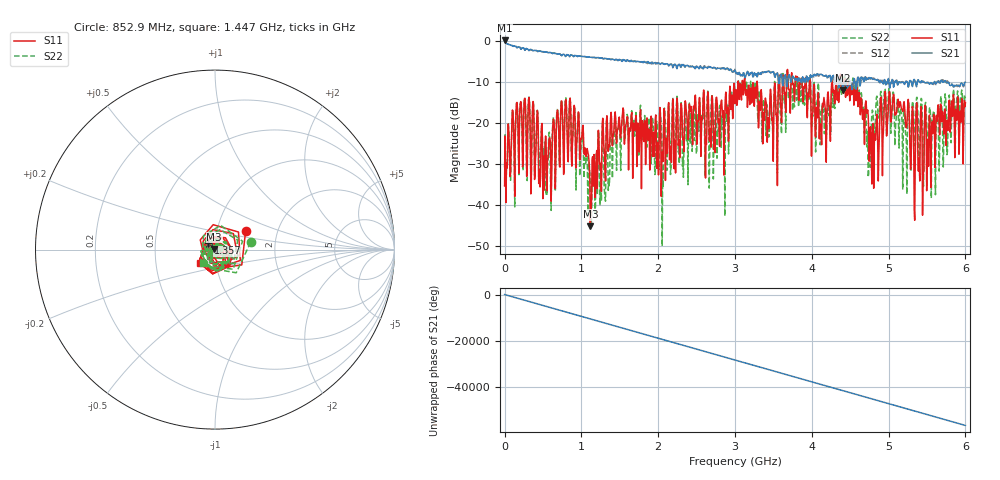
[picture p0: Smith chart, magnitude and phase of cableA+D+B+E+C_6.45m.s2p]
# GHZ S RI R 50.000000000000
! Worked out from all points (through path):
!   1001 points, 1 MHz to 6 GHz, reference 50 ohm
!   highest |S21| = 0.05 dB at 1 MHz (marker M1); lowest = -12.0 dB at 4.404 GHz (marker M2)
!   lowest |S11| = -45.1 dB at 1.117 GHz (marker M3), VSWR 1.01, Z = 49.5 + j0.313 ohm
!   |S11| at or under -10 dB: start of sweep to 3.042 GHz; 3.981 GHz to 4.26 GHz (279 MHz wide, 6.77 % of centre); 4.483 GHz to end of sweep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
!   |S22| runs from -50.0 to -7.2 dB; largest |S21 - S12| = 0.056
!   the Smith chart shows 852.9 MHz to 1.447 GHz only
!   S11 on the Smith chart (normalised r, x): 852.9 MHz: 1.37, +0.30; 1.357 GHz: 0.92, +0.07; 1.447 GHz: 0.83, -0.13
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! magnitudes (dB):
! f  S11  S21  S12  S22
! 1 MHz  -35.3  0.0  -0.1  -30.8
! 187 MHz  -32.3  -1.6  -1.6  -32.6
! 528.9 MHz  -25.0  -2.8  -2.7  -24.7
! 714.9 MHz  -30.5  -3.2  -3.2  -30.1
! 852.9 MHz  -14.0  -3.8  -3.8  -13.8
! 1.003 GHz  -23.9  -3.8  -3.8  -25.8
! 1.117 GHz  -45.1  -4.0  -4.0  -37.2
! 1.357 GHz  -25.4  -4.4  -4.4  -33.7
! 1.447 GHz  -18.9  -4.6  -4.6  -19.9
! 2.005 GHz  -32.7  -5.4  -5.5  -30.4
! 2.845 GHz  -17.0  -6.8  -6.6  -17.9
! 3.001 GHz  -15.3  -7.2  -7.0  -14.7
! 4.002 GHz  -19.9  -8.9  -8.7  -20.7
! 4.218 GHz  -14.2  -8.5  -8.6  -16.8
! 4.404 GHz  -11.2  -12.0  -11.7  -11.7
! 4.62 GHz  -12.8  -10.6  -9.8  -12.5
! 4.74 GHz  -21.4  -9.0  -9.4  -32.4
! 4.872 GHz  -28.1  -9.9  -9.5  -18.8
! 5.004 GHz  -13.2  -10.1  -9.6  -11.6
! 5.178 GHz  -16.9  -10.1  -10.0  -21.4
! 5.43 GHz  -17.7  -9.8  -9.9  -14.2
! 6 GHz  -15.1  -10.2  -10.2  -13.7
